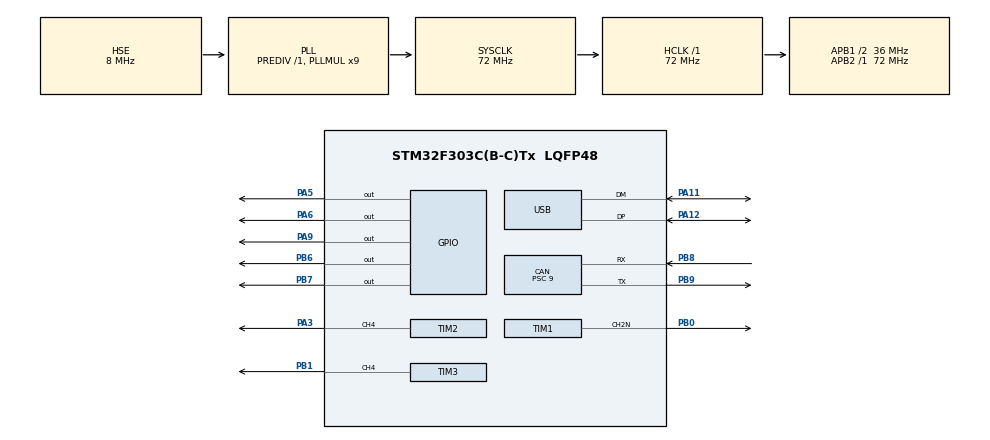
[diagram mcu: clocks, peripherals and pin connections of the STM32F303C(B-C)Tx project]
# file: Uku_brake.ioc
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CAN.BS1=CAN_BS1_5TQ
CAN.BS2=CAN_BS2_2TQ
CAN.CalculateTimeBit=2000
CAN.CalculateTimeQuantum=250.0
CAN.Prescaler=9
Mcu.Family=STM32F3
Mcu.Name=STM32F303C(B-C)Tx
Mcu.Package=LQFP48
NVIC.PriorityGroup=NVIC_PRIORITYGROUP_4
NVIC.USB_LP_IRQn=true\:0\:0\:false\:false\:true\:false
PA11.Mode=Device
PA11.Signal=USB_DM
PA12.Mode=Device
PA12.Signal=USB_DP
PA13.Mode=Serial_Wire
PA13.Signal=SYS_JTMS-SWDIO
PA14.Mode=Serial_Wire
PA14.Signal=SYS_JTCK-SWCLK
PA3.Signal=S_TIM2_CH4
PA5.Signal=GPIO_Output
PA6.Signal=GPIO_Output
PA9.Signal=GPIO_Output
PB0.Mode=PWM Generation2 CH2N
PB0.Signal=TIM1_CH2N
PB1.Signal=S_TIM3_CH4
PB6.Signal=GPIO_Output
PB7.Signal=GPIO_Output
PB8.Mode=Master
PB8.Signal=CAN_RX
PB9.Mode=Master
PB9.Signal=CAN_TX
PF0-OSC_IN.Mode=HSE-External-Oscillator
PF0-OSC_IN.Signal=RCC_OSC_IN
PF1-OSC_OUT.Mode=HSE-External-Oscillator
PF1-OSC_OUT.Signal=RCC_OSC_OUT
ProjectManager.HeapSize=0x200
ProjectManager.StackSize=0x400
ProjectManager.TargetToolchain=SW4STM32
RCC.AHBFreq_Value=72000000
RCC.APB1CLKDivider=RCC_HCLK_DIV2
RCC.APB1Freq_Value=36000000
RCC.APB1TimFreq_Value=72000000
RCC.APB2Freq_Value=72000000
RCC.APB2TimFreq_Value=72000000
RCC.CortexFreq_Value=72000000
RCC.HCLKFreq_Value=72000000
RCC.HSE_VALUE=8000000
RCC.HSI_VALUE=8000000
RCC.LSE_VALUE=32768
RCC.PLLMUL=RCC_PLL_MUL9
RCC.PRESCALERUSB=RCC_USBCLKSOURCE_PLL_DIV1_5
RCC.SYSCLKFreq_VALUE=72000000
RCC.SYSCLKSourceVirtual=RCC_SYSCLKSOURCE_PLLCLK
RCC.USBFreq_Value=48000000
SH.S_TIM2_CH4.0=TIM2_CH4,PWM Generation4 CH4
SH.S_TIM3_CH4.0=TIM3_CH4,PWM Generation4 CH4
TIM1.Channel-PWM\ Generation2\ CH2N=TIM_CHANNEL_2
TIM2.Channel-PWM\ Generation4\ CH4=TIM_CHANNEL_4
TIM3.Channel-PWM\ Generation4\ CH4=TIM_CHANNEL_4
USB_DEVICE.CLASS_NAME_FS=CDC
USB_DEVICE.VirtualMode=Cdc
USB_DEVICE.VirtualModeFS=Cdc_FS
VP_USB_DEVICE_VS_USB_DEVICE_CDC_FS.Mode=CDC_FS
board=Uku_brake

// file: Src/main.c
/**
  ******************************************************************************
  * @file           : main.c
  * @brief          : Main program body
  ******************************************************************************
  * This notice applies to any and all portions of this file
  * that are not between comment pairs USER CODE BEGIN and
  * USER CODE END. Other portions of this file, whether
  * inserted by the user or by software development tools
  * are owned by their respective copyright owners.
  *
  * Copyright (c) 2018 STMicroelectronics International N.V.
  * All rights reserved.
  *
  * Redistribution and use in source and binary forms, with or without
  * modification, are permitted, provided that the following conditions are met:
  *
  * 1. Redistribution of source code must retain the above copyright notice,
  *    this list of conditions and the following disclaimer.
  * 2. Redistributions in binary form must reproduce the above copyright notice,
  *    this list of conditions and the following disclaimer in the documentation
  *    and/or other materials provided with the distribution.
  * 3. Neither the name of STMicroelectronics nor the names of other
  *    contributors to this software may be used to endorse or promote products
  *    derived from this software without specific written permission.
  * 4. This software, including modifications and/or derivative works of this
  *    software, must execute solely and exclusively on microcontroller or
  *    microprocessor devices manufactured by or for STMicroelectronics.
  * 5. Redistribution and use of this software other than as permitted under
  *    this license is void and will automatically terminate your rights under
  *    this license.
  *
  * THIS SOFTWARE IS PROVIDED BY STMICROELECTRONICS AND CONTRIBUTORS "AS IS"
  * AND ANY EXPRESS, IMPLIED OR STATUTORY WARRANTIES, INCLUDING, BUT NOT
  * LIMITED TO, THE IMPLIED WARRANTIES OF MERCHANTABILITY, FITNESS FOR A
  * PARTICULAR PURPOSE AND NON-INFRINGEMENT OF THIRD PARTY INTELLECTUAL PROPERTY
  * RIGHTS ARE DISCLAIMED TO THE FULLEST EXTENT PERMITTED BY LAW. IN NO EVENT
  * SHALL STMICROELECTRONICS OR CONTRIBUTORS BE LIABLE FOR ANY DIRECT, INDIRECT,
  * INCIDENTAL, SPECIAL, EXEMPLARY, OR CONSEQUENTIAL DAMAGES (INCLUDING, BUT NOT
  * LIMITED TO, PROCUREMENT OF SUBSTITUTE GOODS OR SERVICES; LOSS OF USE, DATA,
  * OR PROFITS; OR BUSINESS INTERRUPTION) HOWEVER CAUSED AND ON ANY THEORY OF
  * LIABILITY, WHETHER IN CONTRACT, STRICT LIABILITY, OR TORT (INCLUDING
  * NEGLIGENCE OR OTHERWISE) ARISING IN ANY WAY OUT OF THE USE OF THIS SOFTWARE,
  * EVEN IF ADVISED OF THE POSSIBILITY OF SUCH DAMAGE.
  *
  ******************************************************************************
  */
#include "main.h"
#include "stm32f3xx_hal.h"
#include "can.h"
#include "tim.h"
#include "usb_device.h"
#include "gpio.h"

/* USER CODE BEGIN PV */
/* Private variables ---------------------------------------------------------*/
uint8_t g_cdcBuf[10];
uint8_t g_cdcBuf1[10];
uint8_t g_cdcBuf2[10];
uint8_t g_SpaPowerStatus;
uint16_t g_sendDelay;
int brake = 0;
//uint8_t temp[4];
uint8_t temp;
#define SPA_TX_SEND_INTERVAL 50
/* USER CODE END PV */

void SystemClock_Config(void);
void HAL_TIM_MspPostInit(TIM_HandleTypeDef *htim);

/* USER CODE BEGIN PFP */
/* Private function prototypes -----------------------------------------------*/

/* USER CODE END PFP */

int main(void)
{

  /* MCU Configuration----------------------------------------------------------*/

  /* Reset of all peripherals, Initializes the Flash interface and the Systick. */
  HAL_Init();

  /* Configure the system clock */
  SystemClock_Config();

  /* Initialize all configured peripherals */
  MX_GPIO_Init();
  MX_TIM1_Init();
  MX_CAN_Init();
  MX_TIM3_Init();
  MX_TIM2_Init();
  MX_USB_DEVICE_Init();
  /* USER CODE BEGIN 2 */

  HAL_TIM_PWM_Start(&htim3, TIM_CHANNEL_4); // Gas
 // HAL_TIM_PWM_Start(&htim2, TIM_CHANNEL_4); //Brake

  //HAL_GPIO_WritePin(GPIOA, GPIO_PIN_6, GPIO_PIN_SET);

  /* USER CODE END 2 */

  /* Infinite loop */
  /* USER CODE BEGIN WHILE */
  while (1)
  {

	  // Control range on 3.5 volt controller is 8000-> max speed, 3000 -> zero speed
	  //Uku control 6400 -> 8000

	 // TIM3->CCR4 = 8000;

  	  HAL_CAN_Receive(&hcan, CAN_FIFO0, 10);

	  //if (hcan.pRxMsg->StdId == 0x520 && (hcan.pRxMsg->IDE == CAN_ID_STD) && (hcan.pRxMsg->DLC == 0x1))
  	if (hcan.pRxMsg->StdId == 0x520)
  	  {
		 /* temp [0] = hcan.pRxMsg->Data[0];
		  temp [1] = hcan.pRxMsg->Data[1];
		  temp [2] = hcan.pRxMsg->Data[2];
		  temp [3] = hcan.pRxMsg->Data[3];
		  brake = *((float*)temp);*/

  		brake = (uint8_t)hcan.pRxMsg->Data[0];

		  if (brake == 1)
		  {
			  // No brake
			  HAL_GPIO_WritePin(GPIOA, GPIO_PIN_6, RESET);
			  HAL_GPIO_WritePin(GPIOB, GPIO_PIN_6, GPIO_PIN_SET);
			  TIM3->CCR4 = 8000;
			  HAL_Delay(100);
		  }

		  else {
			  // No brake
			  HAL_GPIO_WritePin(GPIOA, GPIO_PIN_6, GPIO_PIN_SET);
			  HAL_GPIO_WritePin(GPIOB, GPIO_PIN_6, RESET);
			  TIM3->CCR4 = 8000;
		  }

		  //HAL_Delay(1000);
		  hcan.pRxMsg->StdId = 0;
	  }

  /* USER CODE END WHILE */

  }

}

void SystemClock_Config(void)
{

  RCC_OscInitTypeDef RCC_OscInitStruct;
  RCC_ClkInitTypeDef RCC_ClkInitStruct;
  RCC_PeriphCLKInitTypeDef PeriphClkInit;

    /**Initializes the CPU, AHB and APB busses clocks
    */
  RCC_OscInitStruct.OscillatorType = RCC_OSCILLATORTYPE_HSE;
  RCC_OscInitStruct.HSEState = RCC_HSE_ON;
  RCC_OscInitStruct.HSEPredivValue = RCC_HSE_PREDIV_DIV1;
  RCC_OscInitStruct.HSIState = RCC_HSI_ON;
  RCC_OscInitStruct.PLL.PLLState = RCC_PLL_ON;
  RCC_OscInitStruct.PLL.PLLSource = RCC_PLLSOURCE_HSE;
  RCC_OscInitStruct.PLL.PLLMUL = RCC_PLL_MUL9;
  if (HAL_RCC_OscConfig(&RCC_OscInitStruct) != HAL_OK)
  {
    _Error_Handler(__FILE__, __LINE__);
  }

    /**Initializes the CPU, AHB and APB busses clocks
    */
  RCC_ClkInitStruct.ClockType = RCC_CLOCKTYPE_HCLK|RCC_CLOCKTYPE_SYSCLK
                              |RCC_CLOCKTYPE_PCLK1|RCC_CLOCKTYPE_PCLK2;
  RCC_ClkInitStruct.SYSCLKSource = RCC_SYSCLKSOURCE_PLLCLK;
  RCC_ClkInitStruct.AHBCLKDivider = RCC_SYSCLK_DIV1;
  RCC_ClkInitStruct.APB1CLKDivider = RCC_HCLK_DIV2;
  RCC_ClkInitStruct.APB2CLKDivider = RCC_HCLK_DIV1;

  if (HAL_RCC_ClockConfig(&RCC_ClkInitStruct, FLASH_LATENCY_2) != HAL_OK)
  {
    _Error_Handler(__FILE__, __LINE__);
  }

  PeriphClkInit.PeriphClockSelection = RCC_PERIPHCLK_USB|RCC_PERIPHCLK_TIM1;
  PeriphClkInit.USBClockSelection = RCC_USBCLKSOURCE_PLL_DIV1_5;
  PeriphClkInit.Tim1ClockSelection = RCC_TIM1CLK_HCLK;
  if (HAL_RCCEx_PeriphCLKConfig(&PeriphClkInit) != HAL_OK)
  {
    _Error_Handler(__FILE__, __LINE__);
  }

    /**Configure the Systick interrupt time
    */
  HAL_SYSTICK_Config(HAL_RCC_GetHCLKFreq()/1000);

    /**Configure the Systick
    */
  HAL_SYSTICK_CLKSourceConfig(SYSTICK_CLKSOURCE_HCLK);

  /* SysTick_IRQn interrupt configuration */
  HAL_NVIC_SetPriority(SysTick_IRQn, 0, 0);
}

void _Error_Handler(char *file, int line)
{
  while(1)
  {
  }
}

/************************ (C) COPYRIGHT STMicroelectronics *****END OF FILE****/
